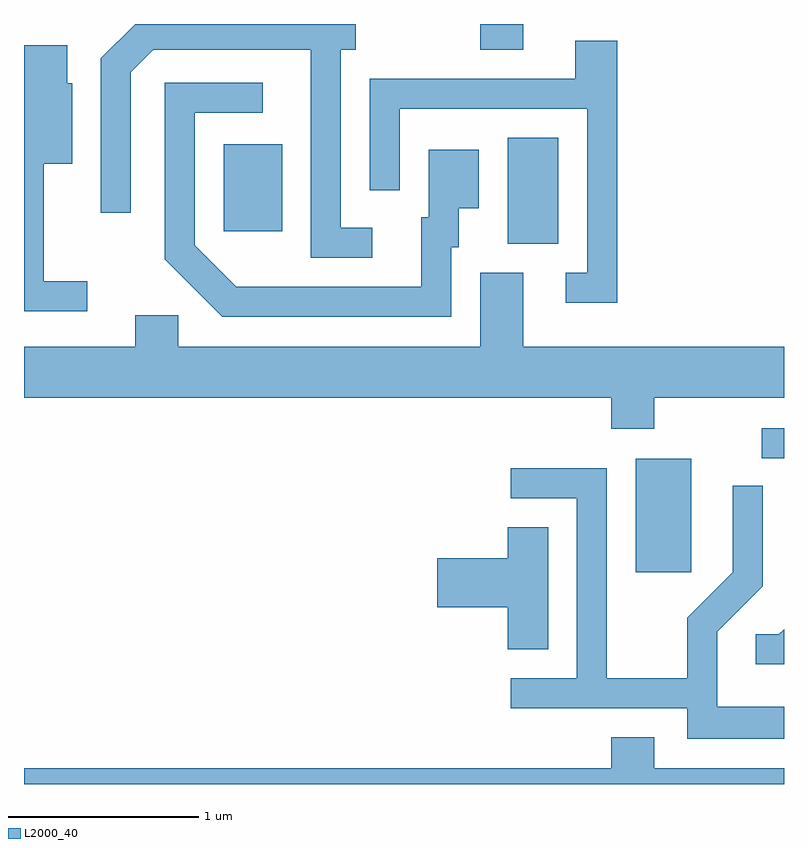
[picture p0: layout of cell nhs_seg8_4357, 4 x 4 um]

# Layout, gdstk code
import gdstk
lib = gdstk.Library(unit=1e-6, precision=1e-09)
def R(c, l, rs):  # rectangles x0, y0, x1, y1
    for r in rs: c.add(gdstk.rectangle(r[:2], r[2:], *l))
def P(c, l, *ps):  # polygons
    for p in ps: c.add(gdstk.Polygon(p, *l))
L2000_40 = (2000, 40)

nhs_seg8_4357 = lib.new_cell('nhs_seg8_4357')
R(nhs_seg8_4357, L2000_40, [(318.831,1875.456,319.124,1876.054), (319.493,1876.056,319.611,1876.214), (318.156,1877.186,318.424,1877.744), (316.661,1877.251,316.969,1877.709), (318.011,1878.206,318.239,1878.342)])
P(nhs_seg8_4357, L2000_40, [(317.443,1877.269),(317.279,1877.269),(317.279,1878.206),(317.358,1878.206),(317.358,1878.342),(316.197,1878.342),(316.016,1878.162),(316.016,1877.348),(316.174,1877.348),(316.174,1878.089),(316.292,1878.206),(317.121,1878.206),(317.121,1877.111),(317.443,1877.111)],
  [(318.734,1878.254),(318.511,1878.254),(318.511,1878.054),(317.431,1878.054),(317.431,1877.468),(317.589,1877.468),(317.589,1877.896),(318.576,1877.896),(318.576,1877.034),(318.463,1877.034),(318.463,1876.876),(318.734,1876.876)],
  [(315.943,1876.989),(315.714,1876.989),(315.714,1877.606),(315.864,1877.606),(315.864,1878.029),(315.839,1878.029),(315.839,1878.229),(315.611,1878.229),(315.611,1876.831),(315.943,1876.831)],
  [(317.859,1877.166),(317.899,1877.166),(317.899,1877.371),(318.004,1877.371),(318.004,1877.679),(317.741,1877.679),(317.741,1877.324),(317.701,1877.324),(317.701,1876.959),(316.727,1876.959),(316.509,1877.177),(316.509,1877.876),(316.868,1877.876),(316.868,1878.034),(316.351,1878.034),(316.351,1877.104),(316.654,1876.801),(317.859,1876.801)],
  [(318.929,1876.376),(319.611,1876.376),(319.611,1876.644),(318.239,1876.644),(318.239,1877.034),(318.011,1877.034),(318.011,1876.644),(316.424,1876.644),(316.424,1876.809),(316.196,1876.809),(316.196,1876.644),(315.611,1876.644),(315.611,1876.376),(318.701,1876.376),(318.701,1876.211),(318.929,1876.211)],
  [(319.611,1874.749),(319.259,1874.749),(319.259,1875.144),(319.499,1875.384),(319.499,1875.913),(319.341,1875.913),(319.341,1875.457),(319.101,1875.217),(319.101,1874.899),(318.679,1874.899),(318.679,1876.004),(318.173,1876.004),(318.173,1875.846),(318.521,1875.846),(318.521,1874.899),(318.173,1874.899),(318.173,1874.741),(319.101,1874.741),(319.101,1874.581),(319.611,1874.581)],
  [(318.369,1875.694),(318.156,1875.694),(318.156,1875.529),(317.786,1875.529),(317.786,1875.271),(318.156,1875.271),(318.156,1875.051),(318.369,1875.051)],
  [(319.611,1875.156),(319.584,1875.129),(319.463,1875.129),(319.463,1874.971),(319.611,1874.971)],
  [(319.611,1874.424),(318.929,1874.424),(318.929,1874.589),(318.701,1874.589),(318.701,1874.424),(315.611,1874.424),(315.611,1874.342),(319.611,1874.342)])

lib.write_gds('nhs_seg8_4357.gds')
